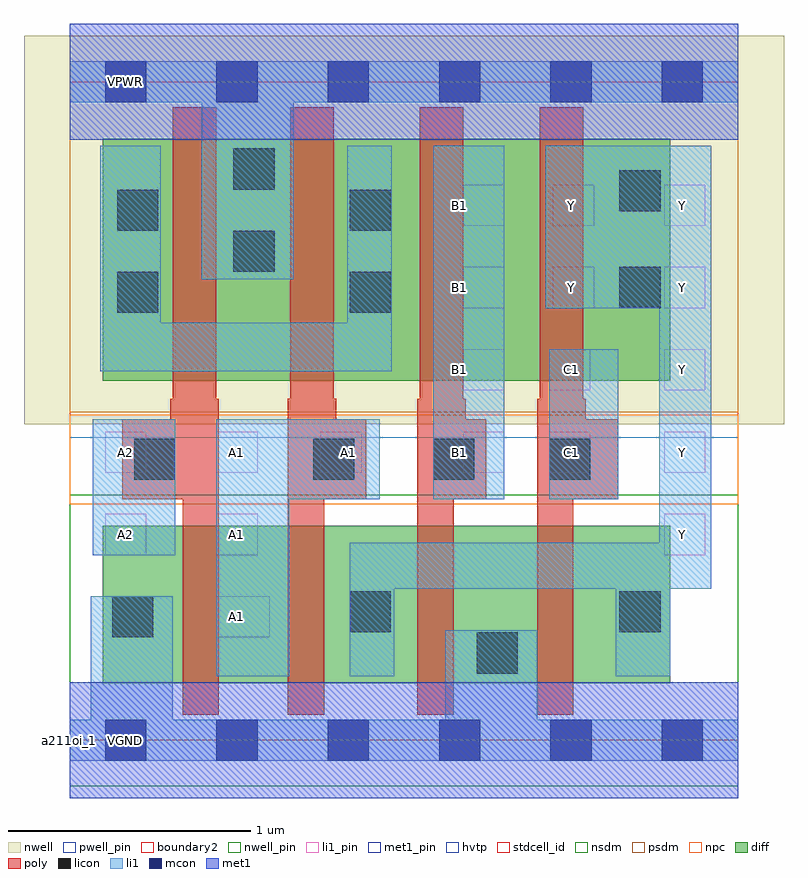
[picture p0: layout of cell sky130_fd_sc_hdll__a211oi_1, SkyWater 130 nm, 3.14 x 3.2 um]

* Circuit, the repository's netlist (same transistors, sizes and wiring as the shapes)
* Copyright 2020 The SkyWater PDK Authors
*
* Licensed under the Apache License, Version 2.0 (the "License");
* you may not use this file except in compliance with the License.
* You may obtain a copy of the License at
*
*     https://www.apache.org/licenses/LICENSE-2.0
*
* Unless required by applicable law or agreed to in writing, software
* distributed under the License is distributed on an "AS IS" BASIS,
* WITHOUT WARRANTIES OR CONDITIONS OF ANY KIND, either express or implied.
* See the License for the specific language governing permissions and
* limitations under the License.
*
* SPDX-License-Identifier: Apache-2.0

.SUBCKT sky130_fd_sc_hdll__a211oi_1 A1 A2 B1 C1 VGND VNB VPB VPWR Y
*.PININFO A1:I A2:I B1:I C1:I VGND:I VNB:I VPB:I VPWR:I Y:O
MMPA0 pndA A1 VPWR VPB sky130_fd_pr__pfet_01v8_hvt m=1 w=1.0U l=0.18U mult=1 sa=0.265
+ sb=0.265 sd=0.28 area=0.063 perim=1.14
MMPA1 pndA A2 VPWR VPB sky130_fd_pr__pfet_01v8_hvt m=1 w=1.0U l=0.18U mult=1 sa=0.265
+ sb=0.265 sd=0.28 area=0.063 perim=1.14
MMPB0 pndB B1 pndA VPB sky130_fd_pr__pfet_01v8_hvt m=1 w=1.0U l=0.18U mult=1 sa=0.265
+ sb=0.265 sd=0.28 area=0.063 perim=1.14
MMPC0 Y C1 pndB VPB sky130_fd_pr__pfet_01v8_hvt m=1 w=1.0U l=0.18U mult=1 sa=0.265
+ sb=0.265 sd=0.28 area=0.063 perim=1.14
MMNA0 Y A1 sndA1 VNB sky130_fd_pr__nfet_01v8 m=1 w=0.65U l=0.15U mult=1 sa=0.265
+ sb=0.265 sd=0.28 area=0.063 perim=1.14
MMNA1 sndA1 A2 VGND VNB sky130_fd_pr__nfet_01v8 m=1 w=0.65U l=0.15U mult=1 sa=0.265
+ sb=0.265 sd=0.28 area=0.063 perim=1.14
MMNB0 Y B1 VGND VNB sky130_fd_pr__nfet_01v8 m=1 w=0.65U l=0.15U mult=1 sa=0.265
+ sb=0.265 sd=0.28 area=0.063 perim=1.14
MMNC0 Y C1 VGND VNB sky130_fd_pr__nfet_01v8 m=1 w=0.65U l=0.15U mult=1 sa=0.265
+ sb=0.265 sd=0.28 area=0.063 perim=1.14
.ENDS sky130_fd_sc_hdll__a211oi_1

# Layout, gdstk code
import gdstk
lib = gdstk.Library(unit=1e-6, precision=1e-09)
def R(c, l, rs):  # rectangles x0, y0, x1, y1
    for r in rs: c.add(gdstk.rectangle(r[:2], r[2:], *l))
def A(c, l, x, y, w, h, nx, ny, dx, dy):  # array of equal rectangles
    R(c, l, [(x+i*dx, y+j*dy, x+i*dx+w, y+j*dy+h) for i in range(nx) for j in range(ny)])
def P(c, l, *ps):  # polygons
    for p in ps: c.add(gdstk.Polygon(p, *l))
nwell_pin = (64, 16)
nwell = (64, 20)
diff = (65, 20)
poly = (66, 20)
licon = (66, 44)
li1_pin = (67, 16)
li1 = (67, 20)
mcon = (67, 44)
met1_pin = (68, 16)
met1 = (68, 20)
hvtp = (78, 44)
stdcell_id = (81, 4)
nsdm = (93, 44)
psdm = (94, 20)
npc = (95, 20)
pwell_pin = (122, 16)
boundary2 = (236, 0)

sky130_fd_sc_hdll__a211o = lib.new_cell('sky130_fd_sc_hdll__a211oi_1')
R(sky130_fd_sc_hdll__a211o, nwell_pin, [(0.145,2.635,0.315,2.805)])
R(sky130_fd_sc_hdll__a211o, nwell, [(-0.19,1.305,2.95,2.91)])
R(sky130_fd_sc_hdll__a211o, diff, [(0.135,0.235,2.48,0.885), (0.135,1.485,2.48,2.485)])
P(sky130_fd_sc_hdll__a211o, poly, [(0.615,1.41),(0.605,1.41),(0.605,2.615),(0.425,2.615),(0.425,1.41),(0.415,1.41),(0.415,1.325),(0.215,1.325),(0.215,0.995),(0.465,0.995),(0.465,0.105),(0.615,0.105)],
  [(1.225,1.325),(1.1,1.325),(1.1,1.41),(1.09,1.41),(1.09,2.615),(0.91,2.615),(0.91,1.41),(0.9,1.41),(0.9,0.105),(1.05,0.105),(1.05,0.995),(1.225,0.995)],
  [(1.72,1.325),(1.635,1.325),(1.635,1.41),(1.625,1.41),(1.625,2.615),(1.445,2.615),(1.445,1.41),(1.435,1.41),(1.435,0.105),(1.585,0.105),(1.585,0.995),(1.72,0.995)],
  [(2.265,1.325),(2.13,1.325),(2.13,1.41),(2.12,1.41),(2.12,2.615),(1.94,2.615),(1.94,1.41),(1.93,1.41),(1.93,0.105),(2.08,0.105),(2.08,0.995),(2.265,0.995)])
R(sky130_fd_sc_hdll__a211o, licon, [(1.68,0.275,1.85,0.445), (0.175,0.425,0.345,0.595), (1.155,0.445,1.325,0.615), (2.27,0.445,2.44,0.615), (0.265,1.075,0.435,1.245), (1.005,1.075,1.175,1.245), (1.5,1.075,1.67,1.245), (1.98,1.075,2.15,1.245), (0.195,1.765,0.365,1.935), (1.155,1.765,1.325,1.935), (2.27,1.785,2.44,1.955), (0.675,1.935,0.845,2.105), (0.195,2.105,0.365,2.275), (1.155,2.105,1.325,2.275), (2.27,2.185,2.44,2.355), (0.675,2.275,0.845,2.445)])
A(sky130_fd_sc_hdll__a211o, li1_pin, 2.455, 0.765, 0.17, 0.17, 1, 5, 0, 0.34)
A(sky130_fd_sc_hdll__a211o, li1_pin, 1.625, 1.105, 0.17, 0.17, 1, 4, 0, 0.34)
R(sky130_fd_sc_hdll__a211o, li1_pin, [(0.605,0.425,0.825,0.595), (0.145,0.765,0.315,0.935), (0.605,0.765,0.775,0.935), (0.145,1.105,0.315,1.275), (0.605,1.105,0.775,1.275), (1.035,1.105,1.205,1.275), (1.98,1.105,2.15,1.275), (1.98,1.445,2.15,1.615), (1.995,1.785,2.165,1.955), (1.995,2.125,2.165,2.295)])
R(sky130_fd_sc_hdll__a211o, li1, [(0.095,0.765,0.435,1.325), (1.5,0.995,1.795,2.455), (1.98,0.995,2.265,1.615)])
P(sky130_fd_sc_hdll__a211o, li1, [(2.76,2.805),(0,2.805),(0,2.635),(0.545,2.635),(0.545,1.905),(0.925,1.905),(0.925,2.635),(2.76,2.635)],
  [(2.76,0.085),(1.93,0.085),(1.93,0.455),(1.55,0.455),(1.55,0.085),(0.425,0.085),(0.425,0.595),(0.085,0.595),(0.085,0.085),(0,0.085),(0,-0.085),(2.76,-0.085)],
  [(1.28,1.325),(0.605,1.325),(0.605,0.265),(0.905,0.265),(0.905,0.995),(1.28,0.995)],
  [(1.33,2.455),(1.145,2.455),(1.145,1.725),(0.375,1.725),(0.375,2.455),(0.125,2.455),(0.125,1.525),(1.33,1.525)],
  [(2.65,2.455),(1.965,2.455),(1.965,1.785),(2.435,1.785),(2.435,0.815),(1.155,0.815),(1.155,0.265),(1.34,0.265),(1.34,0.625),(2.255,0.625),(2.255,0.265),(2.48,0.265),(2.48,0.625),(2.65,0.625)])
A(sky130_fd_sc_hdll__a211o, mcon, 0.145, -0.085, 0.17, 0.17, 6, 2, 0.46, 2.72)
R(sky130_fd_sc_hdll__a211o, met1_pin, [(0.145,-0.085,0.315,0.085), (0.145,2.635,0.315,2.805)])
R(sky130_fd_sc_hdll__a211o, met1, [(0,-0.24,2.76,0.24), (0,2.48,2.76,2.96)])
R(sky130_fd_sc_hdll__a211o, hvtp, [(0,1.25,2.76,2.72)])
R(sky130_fd_sc_hdll__a211o, stdcell_id, [(0,0,2.76,2.72)])
R(sky130_fd_sc_hdll__a211o, nsdm, [(0,-0.19,2.76,1.015)])
R(sky130_fd_sc_hdll__a211o, psdm, [(0,1.355,2.76,2.91)])
R(sky130_fd_sc_hdll__a211o, npc, [(0,0.975,2.76,1.345)])
R(sky130_fd_sc_hdll__a211o, pwell_pin, [(0.145,-0.085,0.315,0.085)])
R(sky130_fd_sc_hdll__a211o, boundary2, [(0,0,2.76,2.72)])
sky130_fd_sc_hdll__a211o.add(gdstk.Label('A1', (0.69,0.85), layer=67, texttype=5))
sky130_fd_sc_hdll__a211o.add(gdstk.Label('C1', (2.07,1.19), layer=67, texttype=5))
sky130_fd_sc_hdll__a211o.add(gdstk.Label('A1', (1.15,1.19), layer=67, texttype=5))
sky130_fd_sc_hdll__a211o.add(gdstk.Label('B1', (1.61,1.19), layer=67, texttype=5))
sky130_fd_sc_hdll__a211o.add(gdstk.Label('Y', (2.53,2.21), layer=67, texttype=5))
sky130_fd_sc_hdll__a211o.add(gdstk.Label('Y', (2.53,1.87), layer=67, texttype=5))
sky130_fd_sc_hdll__a211o.add(gdstk.Label('Y', (2.53,1.53), layer=67, texttype=5))
sky130_fd_sc_hdll__a211o.add(gdstk.Label('Y', (2.53,1.19), layer=67, texttype=5))
sky130_fd_sc_hdll__a211o.add(gdstk.Label('Y', (2.53,0.85), layer=67, texttype=5))
sky130_fd_sc_hdll__a211o.add(gdstk.Label('Y', (2.07,2.21), layer=67, texttype=5))
sky130_fd_sc_hdll__a211o.add(gdstk.Label('Y', (2.07,1.87), layer=67, texttype=5))
sky130_fd_sc_hdll__a211o.add(gdstk.Label('A2', (0.23,1.19), layer=67, texttype=5))
sky130_fd_sc_hdll__a211o.add(gdstk.Label('A1', (0.69,0.51), layer=67, texttype=5))
sky130_fd_sc_hdll__a211o.add(gdstk.Label('A2', (0.23,0.85), layer=67, texttype=5))
sky130_fd_sc_hdll__a211o.add(gdstk.Label('A1', (0.69,1.19), layer=67, texttype=5))
sky130_fd_sc_hdll__a211o.add(gdstk.Label('B1', (1.61,1.53), layer=67, texttype=5))
sky130_fd_sc_hdll__a211o.add(gdstk.Label('B1', (1.61,1.87), layer=67, texttype=5))
sky130_fd_sc_hdll__a211o.add(gdstk.Label('B1', (1.61,2.21), layer=67, texttype=5))
sky130_fd_sc_hdll__a211o.add(gdstk.Label('C1', (2.07,1.53), layer=67, texttype=5))
sky130_fd_sc_hdll__a211o.add(gdstk.Label('VPWR', (0.23,2.72), layer=68, texttype=5))
sky130_fd_sc_hdll__a211o.add(gdstk.Label('VGND', (0.23,0), layer=68, texttype=5))
sky130_fd_sc_hdll__a211o.add(gdstk.Label('VPB', (0.23,2.72), layer=64, texttype=5))
sky130_fd_sc_hdll__a211o.add(gdstk.Label('VNB', (0.23,0), layer=64, texttype=59))
sky130_fd_sc_hdll__a211o.add(gdstk.Label('a211oi_1', (0,0), layer=83, texttype=44))

lib.write_gds('sky130_fd_sc_hdll__a211oi_1.gds')
